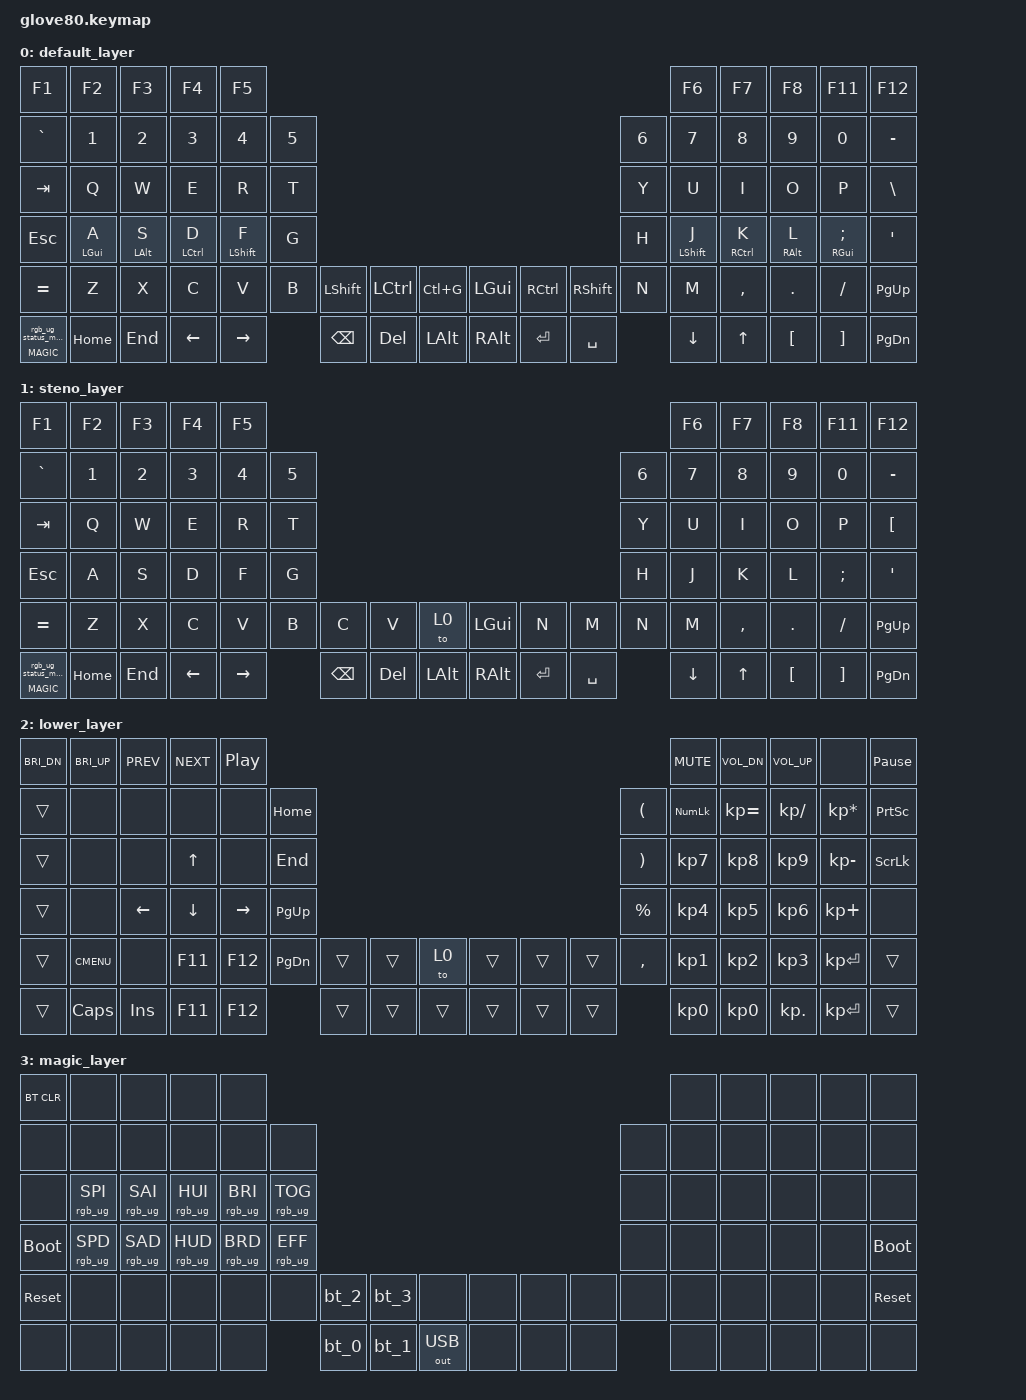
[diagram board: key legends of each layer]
/*
 * Copyright (c) 2020 The ZMK Contributors
 *
 * SPDX-License-Identifier: MIT
 */

#include <behaviors.dtsi>
#include <dt-bindings/zmk/bt.h>
#include <dt-bindings/zmk/keys.h>
#include <dt-bindings/zmk/outputs.h>
#include <dt-bindings/zmk/rgb.h>

// layers

#define DEFAULT 0
#define LOWER 1
#define MAGIC 3

/ {
    behaviors {
        // For the "layer" key, it'd nice to be able to use it as either a shift or a toggle.
        // Configure it as a tap dance, so the first tap (or hold) is a &mo and the second tap is a &to

        layer_td: tap_dance_0 {
            compatible = "zmk,behavior-tap-dance";
            #binding-cells = <0>;
            tapping-term-ms = <200>;
            bindings = <&mo 2>, <&to 2>;
        };

        hml: home_row_mod_left {
            compatible = "zmk,behavior-hold-tap";
            label = "HOMEROW-LEFT";
            bindings = <&kp>, <&kp>;

            #binding-cells = <2>;
            tapping-term-ms = <280>;
            require-prior-idle-ms = <150>;
            quick-tap-ms = <175>;
            flavor = "balanced";
            hold-trigger-on-release;
            hold-trigger-key-positions = <5 6 7 8 9 16 17 18 19 20 21 28 29 30 31 32 33 40 41 42 43 44 45 55 56 57 58 59 60 61 62 63 72 73 74 75 76 77 78 79>;
        };

        hmr: home_row_mod_right {
            compatible = "zmk,behavior-hold-tap";
            label = "HOMEROW-RIGHT";
            bindings = <&kp>, <&kp>;

            #binding-cells = <2>;
            require-prior-idle-ms = <150>;
            tapping-term-ms = <280>;
            quick-tap-ms = <175>;
            flavor = "balanced";
            hold-trigger-on-release;
            hold-trigger-key-positions = <0 1 2 3 4 10 11 12 13 14 15 22 23 24 25 26 27 34 35 36 37 38 39 46 47 48 49 50 51 52 53 54 64 65 66 67 68 69 70 71>;
        };

        magic: magic {
            compatible = "zmk,behavior-hold-tap";
            label = "MAGIC_HOLD_TAP";
            #binding-cells = <2>;
            flavor = "tap-preferred";
            tapping-term-ms = <200>;
            bindings = <&mo>, <&rgb_ug_status_macro>;
        };
    };

    macros {
        bt_0: bt_profile_macro_0 {
            compatible = "zmk,behavior-macro";
            #binding-cells = <0>;
            bindings = <&out OUT_BLE &bt BT_SEL 0>;
        };

        bt_1: bt_profile_macro_1 {
            compatible = "zmk,behavior-macro";
            #binding-cells = <0>;
            bindings = <&out OUT_BLE &bt BT_SEL 1>;
        };

        bt_2: bt_profile_macro_2 {
            compatible = "zmk,behavior-macro";
            #binding-cells = <0>;
            bindings = <&out OUT_BLE &bt BT_SEL 2>;
        };

        bt_3: bt_profile_macro_3 {
            compatible = "zmk,behavior-macro";
            #binding-cells = <0>;
            bindings = <&out OUT_BLE &bt BT_SEL 3>;
        };

        rgb_ug_status_macro: rgb_ug_status_macro {
            label = "RGB_UG_STATUS";
            compatible = "zmk,behavior-macro";
            #binding-cells = <0>;
            bindings = <&rgb_ug RGB_TOG>;
        };
    };

    keymap {
        compatible = "zmk,keymap";

        default_layer {
            // ---------------------------------------------------------------------------------------------------------------------------------
            // |  F1   |  F2 |  F3 |  F4  |  F5  |                                                               |  F6   |  F7   |  F8  |   F9  |  F10 |
            // |  =    |  1  |  2  |  3   |  4   |  5   |                                                 |  6   |   7   |   8   |  9   |   0   |   -  |
            // |  TAB  |  Q  |  W  |  E   |  R   |  T   |                                                 |  Y   |   U   |   I   |  O   |   P   |   \  |
            // |  ESC  |  A  |  S  |  D   |  F   |  G   |                                                 |  H   |   J   |   K   |  L   |   ;   |   '  |
            // |   `   |  Z  |  X  |  C   |  V   |  B   | LSHFT | LCTRL | LOWER | | LGUI  | RCTRL | RSHFT |  N   |   M   |   ,   |  .   |   /   | PGUP |
            // | MAGIC | HOME| END | LEFT | RIGHT|      | BSPC  | DEL   | LALT  | | RALT  | RET   | SPACE |      |  UP   | DOWN  |  [   |   ]   | PGDN |

            bindings = <
&kp F1          &kp F2           &kp F3           &kp F4        &kp F5                                                                                                &kp F6             &kp F7        &kp F8            &kp F11              &kp F12
&kp GRAVE       &kp N1           &kp N2           &kp N3        &kp N4             &kp N5                                                                     &kp N6  &kp N7             &kp N8        &kp N9            &kp N0               &kp MINUS
&kp TAB         &kp Q            &kp W            &kp E         &kp R              &kp T                                                                      &kp Y   &kp U              &kp I         &kp O             &kp P                &kp BSLH
&kp ESC         &hml LEFT_GUI A  &hml LEFT_ALT S  &hml LCTRL D  &hml LEFT_SHIFT F  &kp G                                                                      &kp H   &hmr LEFT_SHIFT J  &hmr RCTRL K  &hmr RIGHT_ALT L  &hmr RIGHT_GUI SEMI  &kp SQT
&kp EQUAL       &kp Z            &kp X            &kp C         &kp V              &kp B   &kp LSHFT  &kp LCTRL  &kp LC(G)    &kp LGUI  &kp RCTRL  &kp RSHFT  &kp N   &kp M              &kp COMMA     &kp DOT           &kp FSLH             &kp PG_UP
&magic MAGIC 0  &kp HOME         &kp END          &kp LEFT      &kp RIGHT                  &kp BSPC   &kp DEL    &kp LALT     &kp RALT  &kp RET    &kp SPACE          &kp DOWN           &kp UP        &kp LBKT          &kp RBKT             &kp PG_DN
            >;
        };

        steno_layer {
            bindings = <
&kp F1          &kp F2    &kp F3   &kp F4    &kp F5                                                                                  &kp F6    &kp F7     &kp F8    &kp F11   &kp F12
&kp GRAVE       &kp N1    &kp N2   &kp N3    &kp N4     &kp N5                                                               &kp N6  &kp N7    &kp N8     &kp N9    &kp N0    &kp MINUS
&kp TAB         &kp Q     &kp W    &kp E     &kp R      &kp T                                                                &kp Y   &kp U     &kp I      &kp O     &kp P     &kp LEFT_BRACKET
&kp ESC         &kp A     &kp S    &kp D     &kp F      &kp G                                                                &kp H   &kp J     &kp K      &kp L     &kp SEMI  &kp SQT
&kp EQUAL       &kp Z     &kp X    &kp C     &kp V      &kp B   &kp C     &kp V    &to 0       &kp LGUI  &kp N    &kp M      &kp N   &kp M     &kp COMMA  &kp DOT   &kp FSLH  &kp PG_UP
&magic MAGIC 0  &kp HOME  &kp END  &kp LEFT  &kp RIGHT          &kp BSPC  &kp DEL  &kp LALT    &kp RALT  &kp RET  &kp SPACE          &kp DOWN  &kp UP     &kp LBKT  &kp RBKT  &kp PG_DN
            >;
        };

        lower_layer {
            bindings = <
&kp C_BRI_DN  &kp C_BRI_UP  &kp C_PREV  &kp C_NEXT  &kp C_PP                                                                           &kp C_MUTE  &kp C_VOL_DN  &kp C_VOL_UP   &none            &kp PAUSE_BREAK
&trans        &none         &none       &none       &none      &kp HOME                                                     &kp LPAR   &kp KP_NUM  &kp KP_EQUAL  &kp KP_DIVIDE  &kp KP_MULTIPLY  &kp PSCRN
&trans        &none         &none       &kp UP      &none      &kp END                                                      &kp RPAR   &kp KP_N7   &kp KP_N8     &kp KP_N9      &kp KP_MINUS     &kp SLCK
&trans        &none         &kp LEFT    &kp DOWN    &kp RIGHT  &kp PG_UP                                                    &kp PRCNT  &kp KP_N4   &kp KP_N5     &kp KP_N6      &kp KP_PLUS      &none
&trans        &kp K_CMENU   &none       &kp F11     &kp F12    &kp PG_DN  &trans  &trans  &to 0     &trans  &trans  &trans  &kp COMMA  &kp KP_N1   &kp KP_N2     &kp KP_N3      &kp KP_ENTER     &trans
&trans        &kp CAPS      &kp INS     &kp F11     &kp F12               &trans  &trans  &trans    &trans  &trans  &trans             &kp KP_N0   &kp KP_N0     &kp KP_DOT     &kp KP_ENTER     &trans
            >;
        };

        magic_layer {
            bindings = <
&bt BT_CLR   &none            &none            &none            &none                                                                                       &none  &none  &none  &none  &none
&none        &none            &none            &none            &none            &none                                                               &none  &none  &none  &none  &none  &none
&none        &rgb_ug RGB_SPI  &rgb_ug RGB_SAI  &rgb_ug RGB_HUI  &rgb_ug RGB_BRI  &rgb_ug RGB_TOG                                                     &none  &none  &none  &none  &none  &none
&bootloader  &rgb_ug RGB_SPD  &rgb_ug RGB_SAD  &rgb_ug RGB_HUD  &rgb_ug RGB_BRD  &rgb_ug RGB_EFF                                                     &none  &none  &none  &none  &none  &bootloader
&sys_reset   &none            &none            &none            &none            &none            &bt_2  &bt_3  &none           &none  &none  &none  &none  &none  &none  &none  &none  &sys_reset
&none        &none            &none            &none            &none                             &bt_0  &bt_1  &out OUT_USB    &none  &none  &none         &none  &none  &none  &none  &none
            >;
        };
    };
};
